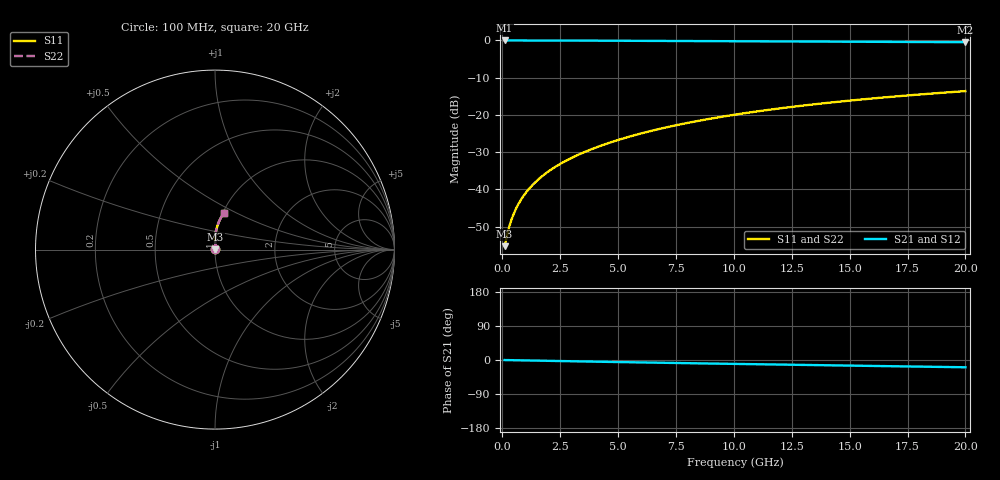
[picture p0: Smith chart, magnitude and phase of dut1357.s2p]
! Touchstone file exported from HFSS 2024.1.0
!  File:  C:/UserFiles/LocalFiles/RDL_TSV_Batchsim/temp_RDL_bottom_1357_1780370523.aedt
!  Generated:  11:25:08 AM Jun  2, 2026
!  Design:  RDL_bottom
!  Project:  temp_RDL_bottom_1357_1780370523
!  Setup:  Setup1
!  Solution:  Sweep
! Variables:
!  dtsv = 10.80580581um
!  hbump = 3um
!  htsv = 79.77um
!  ldown = 223.8um
!  lrdl = 100um
!  p = 40
!  p1 = 58.35um
!  rhole = 1um
!  t = 450um
!  tdown = 2.64um
!  trdl = 3.915915916um
!  wdown = 27.24um
!  wrdl = 20um
# GHz S MA R 50.000000
! Terminal data exported
! Port[1] = RDL1_T1
! Port[2] = RDL1_T2
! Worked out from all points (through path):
!   200 points, 100 MHz to 20 GHz, reference 50 ohm
!   highest |S21| = -0.01 dB at 100 MHz (marker M1); lowest = -0.5 dB at 20 GHz (marker M2)
!   group delay of S21, straight-line fit = 2.63 ps
!   lowest |S11| = -55.3 dB at 100 MHz (marker M3), VSWR 1.00, Z = 50.1 + j0.095 ohm
!   |S11| at or under -10 dB: start of sweep to end of sweep
!   |S22| runs from -55.3 to -13.6 dB; largest |S21 - S12| = 2.1e-15
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0.1  0.001725 33.3  0.9986 -0.1  0.9986 -0.1  0.001725 33.3
! Gamma 0 0 0 0
! Port Impedance 50 0 50 0
0.2  0.002388 51.3  0.9985 -0.2  0.9985 -0.2  0.002388 51.3
0.3  0.003151 60.6  0.9984 -0.4  0.9984 -0.4  0.003151 60.6
0.4  0.00394 66.2  0.9983 -0.5  0.9983 -0.5  0.00394 66.2
0.5  0.004741 70.1  0.9982 -0.6  0.9982 -0.6  0.004741 70.1
0.6  0.00555 73.0  0.9981 -0.7  0.9981 -0.7  0.00555 73.0
0.8  0.007193 77.0  0.9979 -0.9  0.9979 -0.9  0.007193 77.0
1.1  0.009702 80.7  0.9977 -1.2  0.9977 -1.2  0.009702 80.7
1.5  0.01311 83.6  0.9972 -1.7  0.9972 -1.7  0.01311 83.6
1.8  0.01571 85.1  0.9968 -2.0  0.9968 -2.0  0.01571 85.1
2.1  0.01835 86.3  0.9964 -2.4  0.9964 -2.4  0.01835 86.3
2.7  0.02374 87.9  0.9953 -3.0  0.9953 -3.0  0.02375 87.9
3.5  0.0312 89.2  0.9936 -3.9  0.9936 -3.9  0.0312 89.2
4.2  0.03798 89.9  0.9918 -4.6  0.9918 -4.6  0.03798 89.9
5  0.04601 90.2  0.9897 -5.4  0.9897 -5.4  0.04601 90.2
5.9  0.05534 90.2  0.9871 -6.4  0.9871 -6.4  0.05534 90.2
6.8  0.06493 89.9  0.9845 -7.2  0.9845 -7.2  0.06493 89.9
8.4  0.0824 88.8  0.9797 -8.8  0.9797 -8.8  0.08241 88.8
10.1  0.1013 87.3  0.9747 -10.4  0.9747 -10.4  0.1013 87.3
13.4  0.1379 83.8  0.9652 -13.4  0.9652 -13.4  0.1379 83.8
16.7  0.1738 80.2  0.9558 -16.3  0.9558 -16.3  0.1738 80.2
20  0.2085 76.7  0.9462 -19.2  0.9462 -19.2  0.2086 76.7
